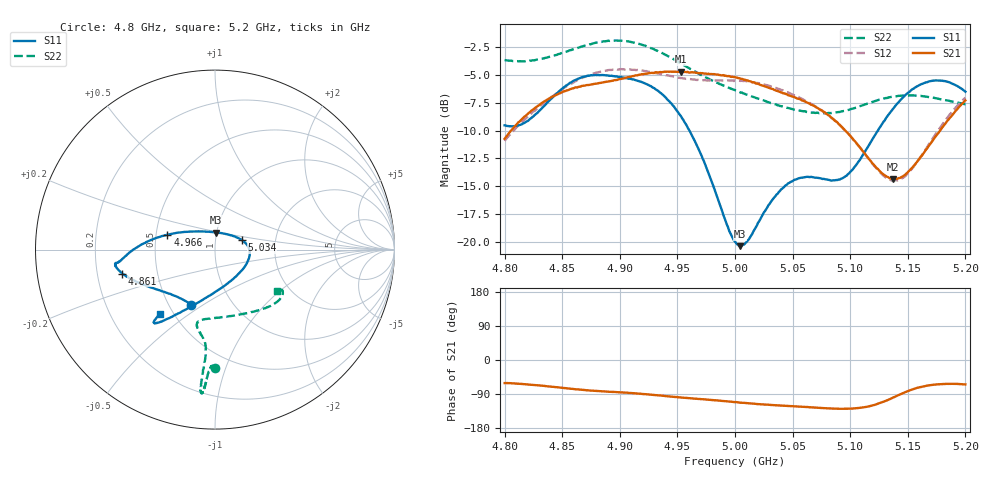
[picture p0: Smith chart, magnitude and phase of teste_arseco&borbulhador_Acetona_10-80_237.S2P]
! Network Analyzer HP8722D
! Hewlett-Packard
! Data name: Linha & Wilkinson
! Saver's name: Rodrigo Anjos
! Comments: Teste da utilização de aquisição
! continua pelo VNA HP8722D
! Time and date: 17/4/2025 16:20
!  Frequency  S11  S21  S12  S22
# HZ  S  MA R 50
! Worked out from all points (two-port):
!   401 points, 4.8 GHz to 5.2 GHz, reference 50 ohm
!   highest |S21| = -4.69 dB at 4.953 GHz (marker M1); lowest = -14.4 dB at 5.137 GHz (marker M2)
!   |S21| within 3 dB of the highest: 4.83 GHz to 5.067 GHz (236.4 MHz wide, 4.78 % of centre); 5.196175 GHz to end of sweep
!   lowest |S11| = -20.4 dB at 5.004 GHz (marker M3), VSWR 1.21, Z = 49.7 + j9.54 ohm
!   |S11| at or under -10 dB: 4.96 GHz to 5.124 GHz (163.7 MHz wide, 3.25 % of centre)
!   |S22| runs from -8.5 to -1.9 dB; largest |S21 - S12| = 0.87
!   S11 on the Smith chart (normalised r, x): 4.8 GHz: 0.65, -0.44; 4.861 GHz: 0.31, -0.12; 4.966 GHz: 0.57, +0.10; 5.034 GHz: 1.34, +0.15; 5.2 GHz: 0.42, -0.39
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4.8e9  0.3337 -113.5  0.2903 -60.9  0.2842 -175.1  0.657 -90.1
4.819e9  0.3472 -133.5  0.3716 -64.1  0.3603 -173.6  0.6509 -91.7
4.861e9  0.5327 -165.5  0.4938 -77.1  0.526 -176.9  0.7364 -93.9
4.867e9  0.5492 -167.9  0.5025 -78.6  0.5444 -178.0  0.7555 -94.1
4.902e9  0.5484 -172.4  0.5411 -85.5  0.5976 174.9  0.8018 -95.5
4.934e9  0.4731 -178.3  0.5787 -93.6  0.5712 171.8  0.7161 -95.8
4.953e9  0.3673 172.1  0.5826 -98.9  0.5446 172.4  0.634 -95.3
4.966e9  0.2774 162.6  0.5754 -102.1  0.535 173.7  0.5803 -95.1
5e9  0.1001 100.6  0.5503 -111.2  0.5328 176.1  0.4806 -99.2
5.004e9  0.09534 86.4  0.5437 -112.2  0.5297 176.1  0.4711 -100.0
5.012e9  0.1023 60.1  0.5281 -114.3  0.5244 175.9  0.4556 -101.8
5.034e9  0.158 19.9  0.4818 -119.1  0.4947 174.8  0.416 -103.5
5.05e9  0.187 3.7  0.4502 -121.8  0.4589 174.2  0.3941 -99.5
5.067e9  0.1951 -14.5  0.4119 -125.0  0.4154 173.6  0.3806 -90.6
5.085e9  0.1886 -42.7  0.357 -128.4  0.3573 173.7  0.3805 -77.0
5.097e9  0.1982 -67.1  0.3112 -128.6  0.3112 174.7  0.3898 -67.1
5.134e9  0.3771 -116.7  0.1931 -103.7  0.1902 -156.7  0.4465 -43.0
5.137e9  0.3949 -118.5  0.1912 -99.5  0.1879 -151.8  0.4493 -41.7
5.15e9  0.466 -124.4  0.205 -82.1  0.2023 -131.8  0.4554 -36.8
5.17e9  0.5282 -129.0  0.2772 -66.1  0.2826 -112.3  0.4462 -32.0
5.184e9  0.5248 -130.3  0.3483 -62.9  0.3591 -107.2  0.4323 -31.1
5.2e9  0.4731 -130.7  0.4321 -64.5  0.4449 -106.5  0.4155 -33.4
